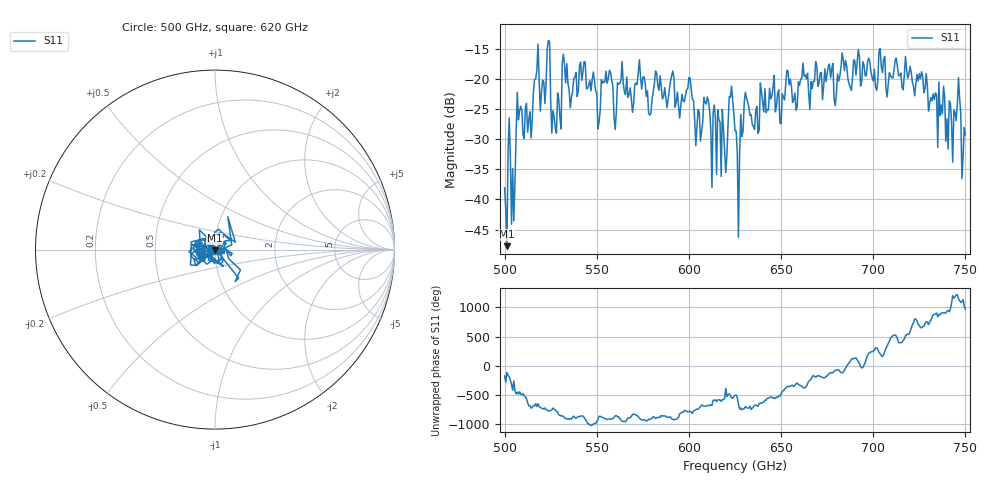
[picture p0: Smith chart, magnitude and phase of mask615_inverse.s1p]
!Created with skrf (http://scikit-rf.org).
# GHz S MA R 50.0
!freq magS11 angS11
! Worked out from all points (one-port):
!   401 points, 500 GHz to 750 GHz, reference 50 ohm
!   lowest |S11| = -47.8 dB at 501.2 GHz (marker M1), VSWR 1.01, Z = 49.8 - j0.365 ohm
!   |S11| at or under -10 dB: start of sweep to end of sweep
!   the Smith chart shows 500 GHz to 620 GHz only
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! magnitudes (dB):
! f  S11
! 500 GHz  -38.1
! 501.2 GHz  -47.8
! 504.4 GHz  -34.8
! 507.5 GHz  -26.8
! 513.8 GHz  -25.4
! 517.5 GHz  -18.4
! 520.6 GHz  -20.2
! 523.8 GHz  -13.5
! 526.9 GHz  -26.2
! 531.2 GHz  -17.4
! 542.5 GHz  -18.7
! 550.6 GHz  -28.3
! 562.5 GHz  -20.7
! 593.8 GHz  -22.1
! 600 GHz  -19.7
! 605 GHz  -25.0
! 609.4 GHz  -24.1
! 618.8 GHz  -28.4
! 622.5 GHz  -23.0
! 625 GHz  -28.6
! 626.2 GHz  -32.2
! 631.2 GHz  -23.1
! 656.2 GHz  -23.9
! 687.5 GHz  -21.3
! 718.8 GHz  -19.8
! 741.9 GHz  -24.0
! 746.2 GHz  -19.7
! 750 GHz  -29.2
